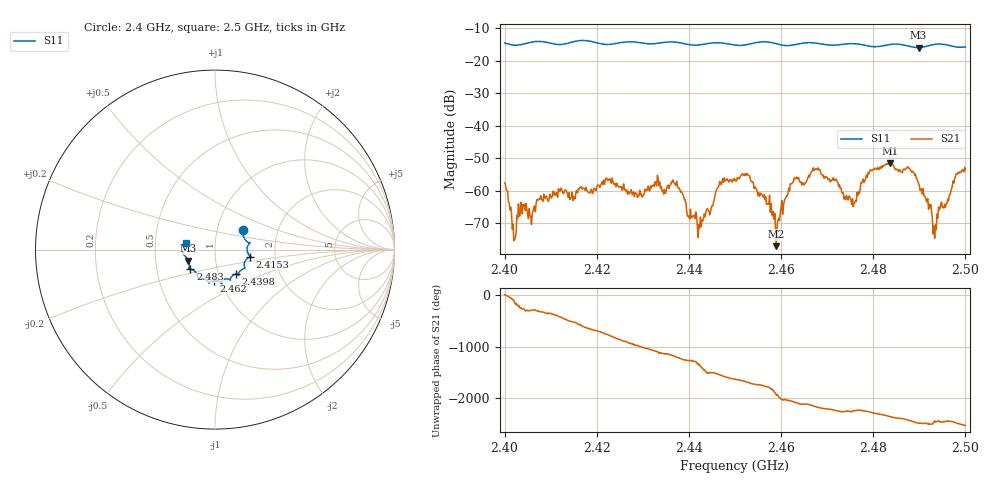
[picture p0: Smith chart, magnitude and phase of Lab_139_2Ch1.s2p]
# Hz S RI R 50
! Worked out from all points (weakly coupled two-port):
!   601 points, 2.4 GHz to 2.5 GHz, reference 50 ohm
!   highest |S21| = -51.45 dB at 2.4837 GHz (marker M1); lowest = -77.1 dB at 2.459 GHz (marker M2)
!   lowest |S11| = -15.9 dB at 2.4898 GHz (marker M3), VSWR 1.38, Z = 36.8 - j4.63 ohm
!   |S11| at or under -10 dB: start of sweep to end of sweep
!   S12 and S22 are empty: the file has one direction only
!   S11 on the Smith chart (normalised r, x): 2.4 GHz: 1.33, +0.29; 2.4153 GHz: 1.48, -0.12; 2.4398 GHz: 1.21, -0.34; 2.462 GHz: 0.93, -0.33; 2.483 GHz: 0.74, -0.17; 2.5 GHz: 0.72, +0.06
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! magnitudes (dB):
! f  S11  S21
! 2.4 GHz  -14.5  -57.6
! 2.4022 GHz  -15.2  -75.1
! 2.404 GHz  -14.8  -64.3
! 2.4153 GHz  -14.0  -62.4
! 2.4167 GHz  -13.7  -58.7
! 2.4333 GHz  -14.6  -56.3
! 2.437 GHz  -14.2  -58.0
! 2.4398 GHz  -14.9  -68.1
! 2.4423 GHz  -15.1  -71.5
! 2.4468 GHz  -14.4  -57.5
! 2.45 GHz  -15.1  -57.0
! 2.4528 GHz  -14.9  -55.2
! 2.459 GHz  -14.7  -77.1
! 2.462 GHz  -15.2  -57.9
! 2.4667 GHz  -14.4  -53.9
! 2.4758 GHz  -14.7  -64.1
! 2.483 GHz  -15.1  -51.8
! 2.4833 GHz  -15.0  -51.6
! 2.4837 GHz  -14.9  -51.4
! 2.4898 GHz  -15.9  -57.6
! 2.4935 GHz  -14.9  -70.5
! 2.5 GHz  -15.7  -53.6
